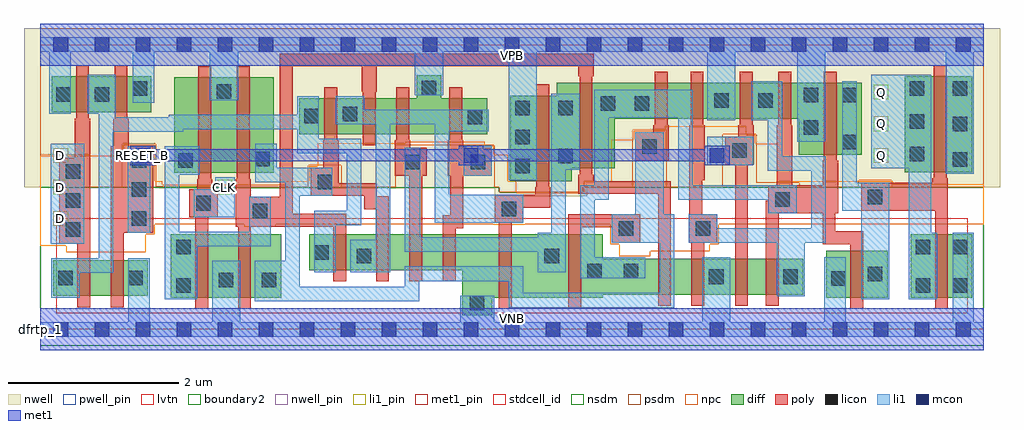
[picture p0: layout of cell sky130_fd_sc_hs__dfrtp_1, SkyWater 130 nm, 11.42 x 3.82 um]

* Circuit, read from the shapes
.subckt sky130_fd_sc_hs__dfrtp_1 CLK D Q RESET_B VGND VNB VPB VPWR
XM1 n1 D n2 VNB sky130_fd_pr__nfet_01v8_lvt w=0.42 l=0.15
XM2 VGND RESET_B n1 VNB sky130_fd_pr__nfet_01v8_lvt w=0.42 l=0.15
XM3 VGND CLK n3 VNB sky130_fd_pr__nfet_01v8_lvt w=0.74 l=0.15
XM4 n4 n3 VGND VNB sky130_fd_pr__nfet_01v8_lvt w=0.74 l=0.15
XM5 n5 n3 n2 VNB sky130_fd_pr__nfet_01v8_lvt w=0.42 l=0.15
XM6 n6 n4 n5 VNB sky130_fd_pr__nfet_01v8_lvt w=0.42 l=0.15
XM7 n7 n8 n6 VNB sky130_fd_pr__nfet_01v8_lvt w=0.42 l=0.15
XM8 VGND RESET_B n7 VNB sky130_fd_pr__nfet_01v8_lvt w=0.42 l=0.15
XM9 n8 n5 VGND VNB sky130_fd_pr__nfet_01v8_lvt w=0.74 l=0.15
XM10 n9 n4 n8 VNB sky130_fd_pr__nfet_01v8_lvt w=0.74 l=0.15
XM11 n10 n3 n9 VNB sky130_fd_pr__nfet_01v8_lvt w=0.42 l=0.15
XM12 VGND n11 n10 VNB sky130_fd_pr__nfet_01v8_lvt w=0.42 l=0.15
XM13 n12 RESET_B VGND VNB sky130_fd_pr__nfet_01v8_lvt w=0.42 l=0.15
XM14 n11 n9 n12 VNB sky130_fd_pr__nfet_01v8_lvt w=0.42 l=0.15
XM15 n13 n9 VGND VNB sky130_fd_pr__nfet_01v8_lvt w=0.55 l=0.15
XM16 VGND n13 Q VNB sky130_fd_pr__nfet_01v8_lvt w=0.74 l=0.15
XM17 n2 D VPWR VPB sky130_fd_pr__pfet_01v8 w=0.42 l=0.15
XM18 VPWR RESET_B n2 VPB sky130_fd_pr__pfet_01v8 w=0.42 l=0.15
XM19 VPWR CLK n3 VPB sky130_fd_pr__pfet_01v8 w=1.12 l=0.15
XM20 n4 n3 VPWR VPB sky130_fd_pr__pfet_01v8 w=1.12 l=0.15
XM21 n5 n4 n2 VPB sky130_fd_pr__pfet_01v8 w=0.42 l=0.15
XM22 n14 n3 n5 VPB sky130_fd_pr__pfet_01v8 w=0.42 l=0.15
XM23 VPWR n8 n14 VPB sky130_fd_pr__pfet_01v8 w=0.42 l=0.15
XM24 n5 RESET_B VPWR VPB sky130_fd_pr__pfet_01v8 w=0.42 l=0.15
XM25 n8 n5 VPWR VPB sky130_fd_pr__pfet_01v8 w=1 l=0.15
XM26 n9 n3 n8 VPB sky130_fd_pr__pfet_01v8 w=1 l=0.15
XM27 n15 n4 n9 VPB sky130_fd_pr__pfet_01v8 w=0.42 l=0.15
XM28 VPWR n11 n15 VPB sky130_fd_pr__pfet_01v8 w=0.42 l=0.15
XM29 n11 RESET_B VPWR VPB sky130_fd_pr__pfet_01v8 w=0.42 l=0.15
XM30 VPWR n9 n11 VPB sky130_fd_pr__pfet_01v8 w=0.42 l=0.15
XM31 n13 n9 VPWR VPB sky130_fd_pr__pfet_01v8 w=0.84 l=0.15
XM32 VPWR n13 Q VPB sky130_fd_pr__pfet_01v8 w=1.12 l=0.15
.ends

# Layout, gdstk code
import gdstk
lib = gdstk.Library(unit=1e-6, precision=1e-09)
def R(c, l, rs):  # rectangles x0, y0, x1, y1
    for r in rs: c.add(gdstk.rectangle(r[:2], r[2:], *l))
def A(c, l, x, y, w, h, nx, ny, dx, dy):  # array of equal rectangles
    R(c, l, [(x+i*dx, y+j*dy, x+i*dx+w, y+j*dy+h) for i in range(nx) for j in range(ny)])
def P(c, l, *ps):  # polygons
    for p in ps: c.add(gdstk.Polygon(p, *l))
nwell_pin = (64, 16)
nwell = (64, 20)
diff = (65, 20)
poly = (66, 20)
licon = (66, 44)
li1_pin = (67, 16)
li1 = (67, 20)
mcon = (67, 44)
met1_pin = (68, 16)
met1 = (68, 20)
stdcell_id = (81, 4)
nsdm = (93, 44)
psdm = (94, 20)
npc = (95, 20)
pwell_pin = (122, 16)
lvtn = (125, 44)
boundary2 = (236, 0)

sky130_fd_sc_hs__dfrtp_1 = lib.new_cell('sky130_fd_sc_hs__dfrtp_1')
R(sky130_fd_sc_hs__dfrtp_1, nwell_pin, [(0,3.085,11.04,3.33)])
P(sky130_fd_sc_hs__dfrtp_1, nwell, [(11.23,3.52),(-0.19,3.52),(-0.19,1.66),(1.39,1.66),(1.39,1.65),(5.32,1.65),(5.32,1.555),(6.4,1.555),(6.4,1.66),(11.23,1.66)])
R(sky130_fd_sc_hs__dfrtp_1, diff, [(1.53,0.37,2.82,1.11), (9.195,0.37,9.915,0.92), (10.185,0.37,10.905,1.11), (0.15,0.39,1.26,0.81), (1.57,1.83,2.73,2.95), (10.115,1.84,10.905,2.96), (0.135,2.54,1.3,2.96)])
P(sky130_fd_sc_hs__dfrtp_1, diff, [(5.23,2.705),(4.695,2.705),(4.695,2.97),(4.405,2.97),(4.405,2.705),(3.03,2.705),(3.03,2.285),(5.23,2.285)],
  [(8.925,0.825),(6.58,0.825),(6.58,1.11),(3.145,1.11),(3.145,0.69),(4.935,0.69),(4.935,0.165),(5.29,0.165),(5.29,0.37),(6.58,0.37),(6.58,0.405),(8.925,0.405)],
  [(9.615,2.885),(6.045,2.885),(6.045,2.735),(5.5,2.735),(5.5,1.735),(6.22,1.735),(6.22,1.885),(6.725,1.885),(6.725,2.465),(8.875,2.465),(8.875,2.045),(9.615,2.045)])
P(sky130_fd_sc_hs__dfrtp_1, poly, [(10.62,1.765),(10.605,1.765),(10.605,3.09),(10.455,3.09),(10.455,1.765),(10.44,1.765),(10.44,1.715),(9.605,1.715),(9.605,1.385),(10.47,1.385),(10.47,0.24),(10.62,0.24)],
  [(9.63,1.145),(9.305,1.145),(9.305,1.355),(9.335,1.355),(9.335,1.97),(9.32,1.97),(9.32,3.015),(9.17,3.015),(9.17,1.97),(9.155,1.97),(9.155,1.685),(8.8,1.685),(8.8,2.39),(8.785,2.39),(8.785,3.015),(8.635,3.015),(8.635,2.39),(8.62,2.39),(8.62,1.685),(8.52,1.685),(8.52,1.505),(8.49,1.505),(8.49,0.275),(8.64,0.275),(8.64,1.355),(9.155,1.355),(9.155,0.995),(9.48,0.995),(9.48,0.24),(9.63,0.24)],
  [(8.35,2.39),(8.335,2.39),(8.335,3.015),(8.185,3.015),(8.185,2.39),(8.17,2.39),(8.17,2.255),(8.015,2.255),(8.015,1.925),(8.13,1.925),(8.13,0.275),(8.28,0.275),(8.28,1.925),(8.35,1.925)],
  [(7.92,1.345),(7.745,1.345),(7.745,1.745),(7.775,1.745),(7.775,2.39),(7.76,2.39),(7.76,3.015),(7.61,3.015),(7.61,2.39),(7.595,2.39),(7.595,1.345),(7.59,1.345),(7.59,1.015),(7.62,1.015),(7.62,0.275),(7.77,0.275),(7.77,1.015),(7.92,1.015)],
  [(7.38,1.735),(6.475,1.735),(6.475,1.81),(6.46,1.81),(6.46,2.96),(6.475,2.96),(6.475,3.225),(2.805,3.225),(2.805,1.55),(2.465,1.55),(2.465,1.755),(2.45,1.755),(2.45,3.08),(2.3,3.08),(2.3,1.755),(2.285,1.755),(2.285,1.2),(2.315,1.2),(2.315,0.24),(2.465,0.24),(2.465,1.2),(3.43,1.2),(3.43,0.56),(3.58,0.56),(3.58,1.35),(2.955,1.35),(2.955,3.075),(3.76,3.075),(3.76,2.78),(3.775,2.78),(3.775,2.155),(3.925,2.155),(3.925,2.78),(3.94,2.78),(3.94,3.075),(6.295,3.075),(6.295,2.96),(6.31,2.96),(6.31,1.81),(6.295,1.81),(6.295,1.585),(7.23,1.585),(7.23,0.275),(7.38,0.275)],
  [(7.355,2.39),(7.34,2.39),(7.34,3.015),(7.19,3.015),(7.19,2.39),(7.175,2.39),(7.175,2.305),(6.965,2.305),(6.965,1.975),(7.355,1.975)],
  [(7.02,1.345),(6.18,1.345),(6.18,0.24),(6.33,0.24),(6.33,1.195),(6.69,1.195),(6.69,1.015),(7.02,1.015)],
  [(5.97,1.66),(5.955,1.66),(5.955,2.865),(5.805,2.865),(5.805,1.66),(5.79,1.66),(5.79,1.575),(5.32,1.575),(5.32,1.245),(5.365,1.245),(5.365,0.24),(5.515,0.24),(5.515,1.245),(5.65,1.245),(5.65,1.425),(5.97,1.425)],
  [(5.285,2.125),(4.95,2.125),(4.95,2.21),(4.935,2.21),(4.935,2.835),(4.785,2.835),(4.785,2.21),(4.77,2.21),(4.77,1.795),(4.8,1.795),(4.8,1.335),(4.71,1.335),(4.71,0.56),(4.86,0.56),(4.86,1.185),(4.95,1.185),(4.95,1.795),(5.285,1.795)],
  [(4.52,2.125),(4.33,2.125),(4.33,2.21),(4.315,2.21),(4.315,2.835),(4.165,2.835),(4.165,2.21),(4.15,2.21),(4.15,1.795),(4.32,1.795),(4.32,0.56),(4.47,0.56),(4.47,1.795),(4.52,1.795)],
  [(4.08,1.555),(3.94,1.555),(3.94,1.71),(3.495,1.71),(3.495,1.89),(3.49,1.89),(3.49,2.21),(3.475,2.21),(3.475,2.835),(3.325,2.835),(3.325,2.21),(3.31,2.21),(3.31,1.89),(3.165,1.89),(3.165,1.56),(3.79,1.56),(3.79,1.405),(3.93,1.405),(3.93,0.56),(4.08,0.56)],
  [(2.075,1.64),(2.015,1.64),(2.015,1.755),(2,1.755),(2,3.08),(1.85,3.08),(1.85,1.755),(1.835,1.755),(1.835,1.64),(1.745,1.64),(1.745,1.31),(1.815,1.31),(1.815,0.24),(1.965,0.24),(1.965,1.31),(2.075,1.31)],
  [(1.32,2.14),(1.035,2.14),(1.035,2.465),(1.02,2.465),(1.02,3.09),(0.87,3.09),(0.87,2.465),(0.855,2.465),(0.855,2.14),(0.825,2.14),(0.825,0.26),(0.975,0.26),(0.975,1.13),(1.32,1.13)],
  [(0.585,2.465),(0.57,2.465),(0.57,3.09),(0.42,3.09),(0.42,2.465),(0.405,2.465),(0.405,2.01),(0.22,2.01),(0.22,1),(0.435,1),(0.435,0.26),(0.585,0.26)])
A(sky130_fd_sc_hs__dfrtp_1, licon, 0.3, 1.08, 0.17, 0.17, 1, 3, 0, 0.34)
A(sky130_fd_sc_hs__dfrtp_1, licon, 1.07, 1.21, 0.17, 0.17, 1, 3, 0, 0.34)
A(sky130_fd_sc_hs__dfrtp_1, licon, 5.56, 1.825, 0.17, 0.17, 1, 3, 0, 0.34)
A(sky130_fd_sc_hs__dfrtp_1, licon, 10.675, 1.9, 0.17, 0.17, 1, 3, 0, 0.415)
R(sky130_fd_sc_hs__dfrtp_1, licon, [(5.025,0.225,5.195,0.395), (1.59,0.43,1.76,0.6), (10.245,0.43,10.415,0.6), (10.675,0.43,10.845,0.6), (2.09,0.49,2.26,0.66), (2.59,0.49,2.76,0.66), (9.255,0.51,9.425,0.68), (0.21,0.515,0.38,0.685), (1.03,0.515,1.2,0.685), (7.825,0.53,7.995,0.7), (8.695,0.53,8.865,0.7), (9.685,0.56,9.855,0.73), (6.4,0.595,6.57,0.765), (6.83,0.595,7,0.765), (5.9,0.77,6.07,0.94), (3.705,0.775,3.875,0.945), (3.205,0.815,3.375,0.985), (1.59,0.88,1.76,1.05), (10.245,0.88,10.415,1.05), (10.675,0.88,10.845,1.05), (6.77,1.095,6.94,1.265), (7.67,1.095,7.84,1.265), (2.485,1.3,2.655,1.47), (5.4,1.325,5.57,1.495), (1.825,1.39,1.995,1.56), (8.6,1.435,8.77,1.605), (9.685,1.465,9.855,1.635), (3.245,1.64,3.415,1.81), (4.27,1.875,4.44,2.045), (5.035,1.875,5.205,2.045), (1.615,1.89,1.785,2.06), (2.515,1.905,2.685,2.075), (6.06,1.945,6.23,2.115), (10.175,1.965,10.345,2.135), (8.095,2.005,8.265,2.175), (7.045,2.055,7.215,2.225), (9.385,2.105,9.555,2.275), (8.935,2.275,9.105,2.445), (10.175,2.345,10.345,2.515), (5,2.4,5.17,2.57), (3.09,2.41,3.26,2.58), (3.54,2.435,3.71,2.605), (6.06,2.505,6.23,2.675), (6.56,2.555,6.73,2.725), (6.955,2.555,7.125,2.725), (7.885,2.59,8.055,2.76), (8.4,2.59,8.57,2.76), (8.935,2.655,9.105,2.825), (9.385,2.655,9.555,2.825), (0.185,2.665,0.355,2.835), (0.635,2.665,0.805,2.835), (2.065,2.7,2.235,2.87), (1.085,2.73,1.255,2.9), (10.175,2.73,10.345,2.9), (4.465,2.74,4.635,2.91)])
A(sky130_fd_sc_hs__dfrtp_1, li1_pin, 0.155, 1.21, 0.17, 0.17, 1, 3, 0, 0.37)
A(sky130_fd_sc_hs__dfrtp_1, li1_pin, 9.755, 1.95, 0.17, 0.17, 1, 3, 0, 0.37)
R(sky130_fd_sc_hs__dfrtp_1, li1_pin, [(2.075,1.58,2.245,1.75)])
R(sky130_fd_sc_hs__dfrtp_1, li1, [(0.125,1,0.515,2.17), (1.025,1.13,1.285,2.14), (4.955,1.795,5.285,2.15), (7.805,1.92,8.345,2.255)])
P(sky130_fd_sc_hs__dfrtp_1, li1, [(0,-0.085),(0,0.085),(1.03,0.085),(1.03,0.83),(1.28,0.83),(1.28,0.085),(2.01,0.085),(2.01,0.8),(2.34,0.8),(2.34,0.085),(4.915,0.085),(4.915,0.395),(5.31,0.395),(5.31,0.085),(7.745,0.085),(7.745,0.845),(8.075,0.845),(8.075,0.085),(9.175,0.085),(9.175,0.845),(9.425,0.845),(9.425,0.085),(10.675,0.085),(10.675,1.13),(10.925,1.13),(10.925,0.085),(11.04,0.085),(11.04,-0.085)],
  [(0,3.245),(0,3.415),(11.04,3.415),(11.04,3.245),(10.925,3.245),(10.925,1.82),(10.595,1.82),(10.595,3.245),(9.185,3.245),(9.185,2.195),(8.855,2.195),(8.855,3.245),(8.135,3.245),(8.135,2.445),(7.805,2.445),(7.805,3.245),(5.81,3.245),(5.81,1.745),(5.48,1.745),(5.48,3.245),(4.715,3.245),(4.715,2.74),(4.385,2.74),(4.385,3.245),(2.315,3.245),(2.315,2.68),(1.985,2.68),(1.985,3.245),(1.335,3.245),(1.335,2.65),(1.085,2.65),(1.085,3.245),(0.355,3.245),(0.355,2.52),(0.105,2.52),(0.105,3.245)],
  [(9.725,1.885),(9.725,2.98),(10.425,2.98),(10.425,1.13),(10.495,1.13),(10.495,0.35),(10.165,0.35),(10.165,1.885)],
  [(1.795,1.31),(1.795,1.64),(2.045,1.64),(2.045,1.78),(2.275,1.78),(2.275,1.31)],
  [(8.515,1.855),(8.515,2.445),(8.32,2.445),(8.32,2.905),(8.685,2.905),(8.685,2.025),(9.19,2.025),(9.19,1.015),(8.945,1.015),(8.945,0.385),(8.615,0.385),(8.615,1.015),(7.59,1.015),(7.59,1.345),(7.92,1.345),(7.92,1.185),(9.02,1.185),(9.02,1.855)],
  [(4.615,2.4),(4.095,2.4),(4.095,0.67),(3.625,0.67),(3.625,1.05),(3.925,1.05),(3.925,2.4),(3.46,2.4),(3.46,2.725),(3.79,2.725),(3.79,2.57),(5.25,2.57),(5.25,2.32),(4.785,2.32),(4.785,1.575),(5.65,1.575),(5.65,1.245),(4.615,1.245)],
  [(2.765,1.89),(3.415,1.89),(3.415,1.56),(3.035,1.56),(3.035,0.5),(4.265,0.5),(4.265,0.735),(5.65,0.735),(5.65,0.425),(7.25,0.425),(7.25,1.015),(6.69,1.015),(6.69,1.345),(6.965,1.345),(6.965,2.305),(7.295,2.305),(7.295,1.345),(7.42,1.345),(7.42,0.255),(5.48,0.255),(5.48,0.565),(4.435,0.565),(4.435,0.33),(2.51,0.33),(2.51,0.8),(2.865,0.8),(2.865,1.72),(2.515,1.72),(2.515,2.17),(2.765,2.17)],
  [(1.625,1.81),(1.625,1.14),(2.445,1.14),(2.445,1.55),(2.695,1.55),(2.695,0.97),(1.84,0.97),(1.84,0.35),(1.455,0.35),(1.455,2.14),(1.865,2.14),(1.865,1.81)],
  [(0.685,0.83),(0.685,2.52),(0.555,2.52),(0.555,2.98),(0.885,2.98),(0.885,2.48),(1.505,2.48),(1.505,2.51),(3.01,2.51),(3.01,2.725),(3.26,2.725),(3.26,2.23),(3.755,2.23),(3.755,1.22),(3.455,1.22),(3.455,0.67),(3.205,0.67),(3.205,1.39),(3.585,1.39),(3.585,2.06),(3.01,2.06),(3.01,2.34),(1.675,2.34),(1.675,2.31),(0.855,2.31),(0.855,0.66),(0.46,0.66),(0.46,0.37),(0.13,0.37),(0.13,0.83)],
  [(4.445,1.075),(5.82,1.075),(5.82,1.13),(5.98,1.13),(5.98,2.755),(6.31,2.755),(6.31,1.865),(6.15,1.865),(6.15,0.665),(5.82,0.665),(5.82,0.905),(4.265,0.905),(4.265,2.125),(4.445,2.125)],
  [(6.48,2.805),(7.635,2.805),(7.635,1.685),(8.85,1.685),(8.85,1.355),(8.52,1.355),(8.52,1.515),(7.465,1.515),(7.465,2.475),(6.65,2.475),(6.65,1.515),(6.49,1.515),(6.49,0.845),(7.08,0.845),(7.08,0.595),(6.32,0.595),(6.32,1.685),(6.48,1.685)],
  [(9.385,1.385),(9.385,2.905),(9.555,2.905),(9.555,1.715),(9.935,1.715),(9.935,0.35),(9.605,0.35),(9.605,1.385)])
A(sky130_fd_sc_hs__dfrtp_1, mcon, 0.155, -0.085, 0.17, 0.17, 23, 2, 0.48, 3.33)
R(sky130_fd_sc_hs__dfrtp_1, mcon, [(1.115,1.95,1.285,2.12), (4.955,1.95,5.125,2.12), (7.835,1.95,8.005,2.12)])
R(sky130_fd_sc_hs__dfrtp_1, met1_pin, [(0,0,11.04,0.245), (1.115,1.95,1.285,2.12), (0,3.085,11.04,3.33)])
R(sky130_fd_sc_hs__dfrtp_1, met1, [(0,-0.245,11.04,0.245), (0,3.085,11.04,3.575)])
P(sky130_fd_sc_hs__dfrtp_1, met1, [(1.345,2.105),(4.895,2.105),(4.895,2.15),(5.185,2.15),(5.185,2.105),(7.775,2.105),(7.775,2.15),(8.065,2.15),(8.065,1.92),(7.775,1.92),(7.775,1.965),(5.185,1.965),(5.185,1.92),(4.895,1.92),(4.895,1.965),(1.345,1.965),(1.345,1.92),(1.055,1.92),(1.055,2.15),(1.345,2.15)])
R(sky130_fd_sc_hs__dfrtp_1, stdcell_id, [(0,0,11.04,3.33)])
P(sky130_fd_sc_hs__dfrtp_1, nsdm, [(11.04,1.66),(6.35,1.66),(6.35,1.605),(5.37,1.605),(5.37,1.66),(0,1.66),(0,-0.19),(11.04,-0.19)])
P(sky130_fd_sc_hs__dfrtp_1, psdm, [(11.04,3.52),(0,3.52),(0,2.04),(0.58,2.04),(0.58,1.66),(0.96,1.66),(0.96,2.17),(1.35,2.17),(1.35,1.67),(2.105,1.67),(2.105,1.66),(3.135,1.66),(3.135,1.92),(3.525,1.92),(3.525,1.66),(4.16,1.66),(4.16,2.155),(5.315,2.155),(5.315,1.66),(5.37,1.66),(5.37,1.605),(6.35,1.605),(6.35,1.66),(6.935,1.66),(6.935,2.335),(7.325,2.335),(7.325,1.66),(7.985,1.66),(7.985,2.285),(8.375,2.285),(8.375,1.715),(8.88,1.715),(8.88,1.66),(9.575,1.66),(9.575,1.745),(9.965,1.745),(9.965,1.66),(11.04,1.66)])
P(sky130_fd_sc_hs__dfrtp_1, npc, [(11.04,1.7),(9.975,1.7),(9.975,1.73),(9.955,1.73),(9.955,1.735),(9.585,1.735),(9.585,1.73),(8.63,1.73),(8.63,2.17),(8.365,2.17),(8.365,2.275),(8.26,2.275),(8.26,2.375),(7.315,2.375),(7.315,2.325),(6.945,2.325),(6.945,2.22),(6.68,2.22),(6.68,1.73),(6.36,1.73),(6.36,1.595),(5.57,1.595),(5.57,1.735),(5.47,1.735),(5.47,2.04),(5.305,2.04),(5.305,2.145),(5.2,2.145),(5.2,2.195),(4.275,2.195),(4.275,2.175),(3.25,2.175),(3.25,1.91),(3.145,1.91),(3.145,1.73),(2.87,1.73),(2.87,1.69),(1.43,1.69),(1.43,1.73),(1.34,1.73),(1.34,2.16),(0.97,2.16),(0.97,2.03),(0,2.03),(0,0.98),(0.305,0.98),(0.305,0.9),(1.235,0.9),(1.235,1.11),(1.34,1.11),(1.34,1.23),(2.385,1.23),(2.385,1.2),(2.755,1.2),(2.755,1.23),(5.3,1.23),(5.3,1.225),(5.67,1.225),(5.67,1.23),(6.67,1.23),(6.67,0.995),(6.775,0.995),(6.775,0.855),(7.14,0.855),(7.14,0.915),(7.835,0.915),(7.835,0.995),(7.94,0.995),(7.94,1.23),(11.04,1.23)])
R(sky130_fd_sc_hs__dfrtp_1, pwell_pin, [(0,0,11.04,0.245)])
R(sky130_fd_sc_hs__dfrtp_1, lvtn, [(0.19,0.19,10.85,1.3)])
R(sky130_fd_sc_hs__dfrtp_1, boundary2, [(0,0,11.04,3.33)])
sky130_fd_sc_hs__dfrtp_1.add(gdstk.Label('dfrtp_1', (0,0), layer=83, texttype=44))
sky130_fd_sc_hs__dfrtp_1.add(gdstk.Label('VNB', (5.52,0.123), layer=64, texttype=59))
sky130_fd_sc_hs__dfrtp_1.add(gdstk.Label('VPB', (5.52,3.208), layer=64, texttype=5))
sky130_fd_sc_hs__dfrtp_1.add(gdstk.Label('RESET_B', (1.2,2.035), layer=68, texttype=5))
sky130_fd_sc_hs__dfrtp_1.add(gdstk.Label('VPWR', (5.52,3.208), layer=68, texttype=5))
sky130_fd_sc_hs__dfrtp_1.add(gdstk.Label('VGND', (5.52,0.123), layer=68, texttype=5))
sky130_fd_sc_hs__dfrtp_1.add(gdstk.Label('Q', (9.84,2.035), layer=67, texttype=5))
sky130_fd_sc_hs__dfrtp_1.add(gdstk.Label('Q', (9.84,2.405), layer=67, texttype=5))
sky130_fd_sc_hs__dfrtp_1.add(gdstk.Label('Q', (9.84,2.775), layer=67, texttype=5))
sky130_fd_sc_hs__dfrtp_1.add(gdstk.Label('CLK', (2.16,1.665), layer=67, texttype=5))
sky130_fd_sc_hs__dfrtp_1.add(gdstk.Label('D', (0.24,1.295), layer=67, texttype=5))
sky130_fd_sc_hs__dfrtp_1.add(gdstk.Label('D', (0.24,1.665), layer=67, texttype=5))
sky130_fd_sc_hs__dfrtp_1.add(gdstk.Label('D', (0.24,2.035), layer=67, texttype=5))

lib.write_gds('sky130_fd_sc_hs__dfrtp_1.gds')
